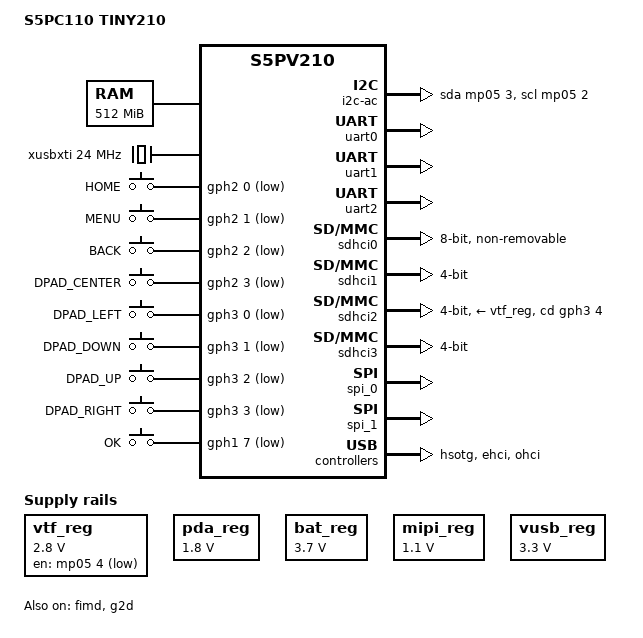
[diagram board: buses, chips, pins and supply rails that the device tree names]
/*
 * Samsung's S5PV210 SoC device tree source
 *
 * Copyright (c) 2013 Mateusz Krawczuk <m.krawczuk@partner.samsung.com>
 *
 * Samsung's S5PV210 SoC device nodes are listed in this file. S5PV210
 * based board files can include this file and provide values for board specfic
 * bindings.
 *
 * Note: This file does not include device nodes for all the controllers in
 * S5PV210 SoC. As device tree coverage for S5PV210 increases, additional
 * nodes can be added to this file.
 *
 * This program is free software; you can redistribute it and/or modify
 * it under the terms of the GNU General Public License version 2 as
 * published by the Free Software Foundation.
 */

/dts-v1/;
#include <dt-bindings/input/input.h>
#include "s5pv210.dtsi"

/ {
	model = "S5PC110 TINY210";
	compatible = "samsung,tiny", "samsung,s5pv210";

	chosen {
		bootargs = "console=ttySAC0,115200n8 root=/dev/mmcblk0p1 rw rootwait ignore_loglevel earlyprintk";
	};

	memory {
		device_type = "memory";
		reg = <0x20000000 0x20000000>;
	};

	fixed-clocks {
		compatible = "simple-bus";
		#address-cells = <1>;
		#size-cells = <0>;

		xxti: oscillator@0 {
			compatible = "fixed-clock";
			reg = <0>;
			clock-output-names = "xxti";
			clock-frequency = <0>;
			#clock-cells = <0>;
		};

		xusbxti: oscillator@1 {
			compatible = "fixed-clock";
			reg = <1>;
			clock-output-names = "xusbxti";
			clock-frequency = <24000000>;
			#clock-cells = <0>;
		};
	};

	regulators {
		compatible = "simple-bus";
		#address-cells = <1>;
		#size-cells = <0>;

		vtf_reg: fixed-regulator@0 {
			compatible = "regulator-fixed";
			regulator-name = "V_TF_2.8V";
			regulator-min-microvolt = <2800000>;
			regulator-max-microvolt = <2800000>;
			reg = <0>;
			gpios = <&mp05 4 0>;
		};

		pda_reg: fixed-regulator@1 {
			compatible = "regulator-fixed";
			regulator-name = "VCC_1.8V_PDA";
			regulator-min-microvolt = <1800000>;
			regulator-max-microvolt = <1800000>;
			reg = <1>;
		};

		bat_reg: fixed-regulator@2 {
			compatible = "regulator-fixed";
			regulator-name = "V_BAT";
			regulator-min-microvolt = <3700000>;
			regulator-max-microvolt = <3700000>;
			reg = <2>;
		};

		mipi_reg: fixed-regulator@3 {
			compatible = "regulator-fixed";
			regulator-name = "VUSB+MIPI_1.1V";
			regulator-min-microvolt = <1100000>;
			regulator-max-microvolt = <1100000>;
			reg = <3>;
		};

		vusb_reg: fixed-regulator@4 {
			compatible = "regulator-fixed";
			regulator-name = "VUSB+VDAC_3.3V";
			regulator-min-microvolt = <3300000>;
			regulator-max-microvolt = <3300000>;
			reg = <4>;
		};
	};

	i2c-ac {
		compatible = "i2c-gpio";
		gpios = <&mp05 3 0>, /* sda */
			<&mp05 2 0>; /* scl */
		i2c-gpio,delay-us = <2>;        /* ~100 kHz */
		#address-cells = <1>;
		#size-cells = <0>;
	};

	gpio-keys {
		compatible = "gpio-keys";

		back-key {
			gpios = <&gph2 0 1>;
			linux,code = <158>;
			label = "HOME";
			debounce-interval = <1>;
		};

		home-key {
			gpios = <&gph2 1 1>;
			linux,code = <102>;
			label = "MENU";
			debounce-interval = <1>;
			gpio-key,wakeup;
		};

		menu-key {
			gpios = <&gph2 2 1>;
			linux,code = <139>;
			label = "BACK";
			debounce-interval = <1>;
		};

		dpad-center-key {
			gpios = <&gph2 3 1>;
			linux,code = <139>;
			label = "DPAD_CENTER";
			debounce-interval = <1>;
		};

		dpad-left-key {
			gpios = <&gph3 0 1>;
			linux,code = <232>;
			label = "DPAD_LEFT";
			debounce-interval = <1>;
		};

		dpad-down-key {
			gpios = <&gph3 1 1>;
			linux,code = <158>;
			label = "DPAD_DOWN";
			debounce-interval = <1>;
		};

		dpad-up-key {
			gpios = <&gph3 2 1>;
			linux,code = <102>;
			label = "DPAD_UP";
			debounce-interval = <1>;
		};

		dpad-right-key {
			gpios = <&gph3 3 1>;
			linux,code = <106>;
			label = "DPAD_RIGHT";
			debounce-interval = <1>;
		};

		ok-key {
			gpios = <&gph1 7 1>;
			linux,code = <102>;
			label = "OK";
			debounce-interval = <1>;
			gpio-key,wakeup;
		};
	};
};


&uart0 {
	status = "okay";
};

&uart1 {
	status = "okay";
};

&uart2 {
	status = "okay";
};

&sdhci0 {
	bus-width = <8>;
	non-removable;
	status = "okay";
};

&sdhci1 {
	bus-width = <4>;
	pinctrl-0 = <&sd1_clk &sd1_cmd &sd1_cd &sd1_bus4>;
	pinctrl-names = "default";
	status = "okay";
};

&sdhci2 {
	bus-width = <4>;
	cd-gpios = <&gph3 4 1>;
	vmmc-supply = <&vtf_reg>;
	cd-inverted;
	pinctrl-0 = <&sd2_clk &sd2_cmd &sd2_bus4>;
	pinctrl-names = "default";
	status = "okay";
};

&sdhci3 {
	bus-width = <4>;
	pinctrl-0 = <&sd3_clk &sd3_cmd &sd3_cd &sd3_bus4>;
	pinctrl-names = "default";
	status = "okay";
};

&spi_0 {
	status = "okay";
};

&spi_1 {
	status = "okay";
};

&hsotg {
	vusb_a-supply = <&mipi_reg>;
	vusb_d-supply = <&vusb_reg>;
	status = "okay";
};

&usbphy {
	clocks = <&clocks USB_OTG>, <&xusbxti>, <&xusbxti>;
	clock-names = "phy", "device", "host";
};

&fimd {
	pinctrl-0 = <&lcd_clk &lcd_data24 &pwm1_out>;
	pinctrl-names = "default";
	status = "okay";
};

&g2d {
	status = "okay";
};

&ehci {
	status = "okay";
};

&ohci {
	status = "okay";
};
